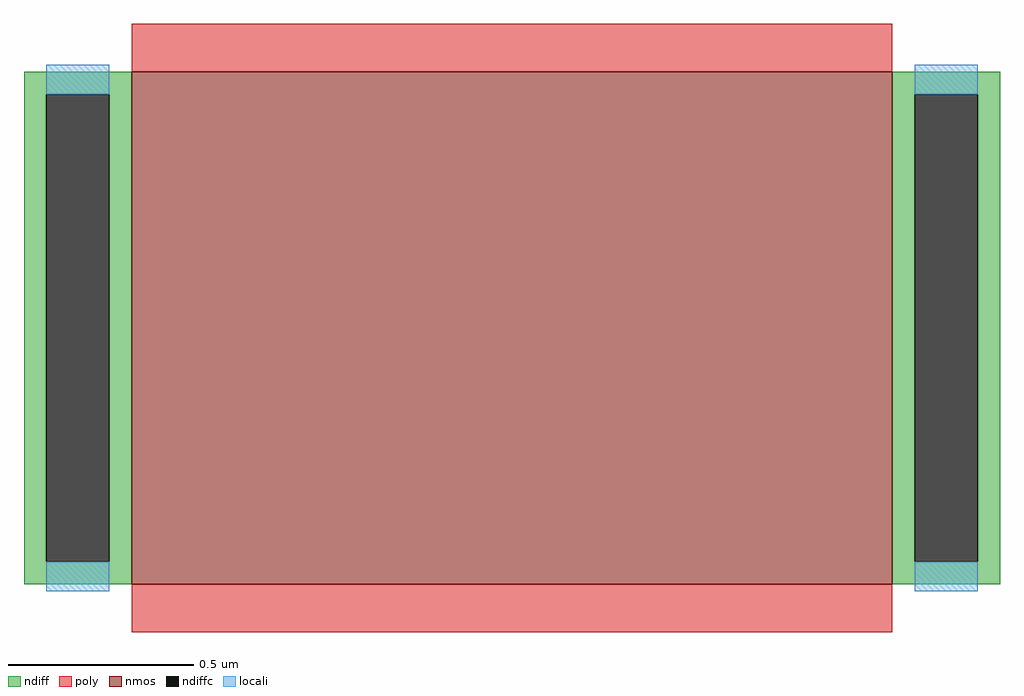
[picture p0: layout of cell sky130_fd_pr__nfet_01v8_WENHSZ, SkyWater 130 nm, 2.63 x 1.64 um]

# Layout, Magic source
magic
tech sky130A
magscale 1 2
<< nmos >>
rect -205 -138 205 138
<< ndiff >>
rect -263 126 -205 138
rect -263 -126 -251 126
rect -217 -126 -205 126
rect -263 -138 -205 -126
rect 205 126 263 138
rect 205 -126 217 126
rect 251 -126 263 126
rect 205 -138 263 -126
<< ndiffc >>
rect -251 -126 -217 126
rect 217 -126 251 126
<< poly >>
rect -205 138 205 164
rect -205 -164 205 -138
<< locali >>
rect -251 126 -217 142
rect -251 -142 -217 -126
rect 217 126 251 142
rect 217 -142 251 -126
<< properties >>
string FIXED_BBOX -348 -295 348 295
string gencell sky130_fd_pr__nfet_01v8
string library sky130
string parameters w 1.375 l 2.045 m 1 nf 1 diffcov 100 polycov 100 guard 1 glc 1 grc 1 gtc 1 gbc 1 tbcov 100 rlcov 100 topc 1 botc 1 poverlap 0 doverlap 1 lmin 0.15 wmin 0.42 compatible {sky130_fd_pr__nfet_01v8 sky130_fd_pr__nfet_01v8_lvt  sky130_fd_bs_flash__special_sonosfet_star  sky130_fd_pr__nfet_g5v0d10v5 sky130_fd_pr__nfet_05v0_nvt  sky130_fd_pr__nfet_03v3_nvt} full_metal 1 viasrc 100 viadrn 100 viagate 100 viagb 0 viagr 0 viagl 0 viagt 0
<< end >>
